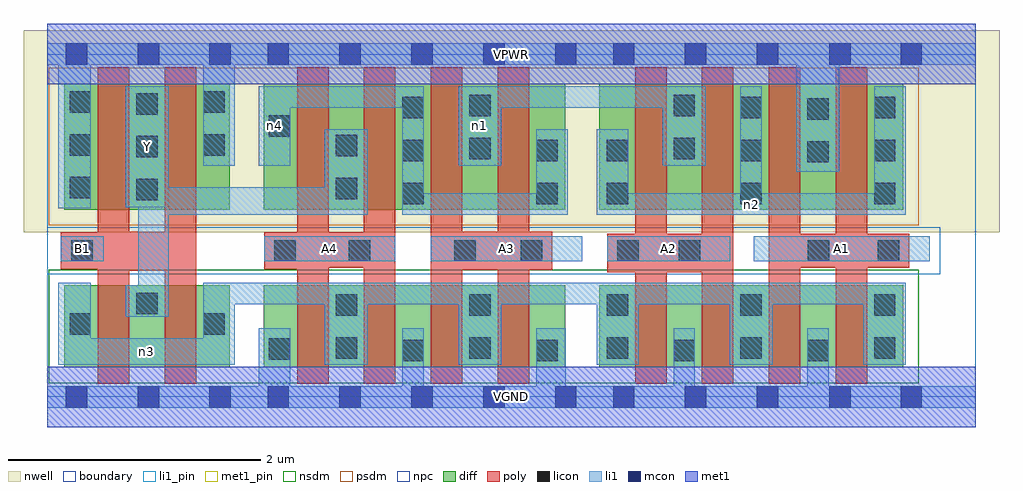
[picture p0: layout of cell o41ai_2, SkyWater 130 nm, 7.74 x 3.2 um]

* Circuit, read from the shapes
.subckt o41ai_2 A1 A2 A3 A4 B1 VGND VPWR Y n1 n2 n3 n4
XM1 Y B1 n3 VSUBS sky130_fd_pr__nfet_01v8 w=0.65 l=0.25 m=2
XM2 n3 A4 VGND VSUBS sky130_fd_pr__nfet_01v8 w=0.65 l=0.25 m=2
XM3 n3 A3 VGND VSUBS sky130_fd_pr__nfet_01v8 w=0.65 l=0.25 m=2
XM4 VGND A2 n3 VSUBS sky130_fd_pr__nfet_01v8 w=0.65 l=0.25 m=2
XM5 VGND A1 n3 VSUBS sky130_fd_pr__nfet_01v8 w=0.65 l=0.25 m=2
XM6 Y B1 VPWR n5 sky130_fd_pr__pfet_01v8 w=1 l=0.25 m=2
XM7 Y A4 n4 n5 sky130_fd_pr__pfet_01v8 w=1 l=0.25 m=2
XM8 n1 A3 n4 n5 sky130_fd_pr__pfet_01v8 w=1 l=0.25 m=2
XM9 n1 A2 n2 n5 sky130_fd_pr__pfet_01v8 w=1 l=0.25 m=2
XM10 VPWR A1 n2 n5 sky130_fd_pr__pfet_01v8 w=1 l=0.25 m=2
.ends

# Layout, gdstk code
import gdstk
lib = gdstk.Library(unit=1e-6, precision=1e-09)
def R(c, l, rs):  # rectangles x0, y0, x1, y1
    for r in rs: c.add(gdstk.rectangle(r[:2], r[2:], *l))
def A(c, l, x, y, w, h, nx, ny, dx, dy):  # array of equal rectangles
    R(c, l, [(x+i*dx, y+j*dy, x+i*dx+w, y+j*dy+h) for i in range(nx) for j in range(ny)])
nwell = (64, 20)
diff = (65, 20)
poly = (66, 20)
licon = (66, 44)
li1_pin = (67, 16)
li1 = (67, 20)
mcon = (67, 44)
met1_pin = (68, 16)
met1 = (68, 20)
nsdm = (93, 44)
psdm = (94, 20)
npc = (95, 20)
boundary = (235, 4)

o41ai_2 = lib.new_cell('o41ai_2')
R(o41ai_2, nwell, [(-0.19,1.305,7.55,2.91), (0,1.305,7.36,2.91)])
R(o41ai_2, diff, [(0.135,0.235,1.445,0.885), (1.715,0.235,4.105,0.885), (4.375,0.235,6.785,0.885), (0.135,1.485,1.445,2.485), (1.715,1.485,4.105,2.485), (4.375,1.485,6.785,2.485)])
A(o41ai_2, poly, 1.98, 0.105, 0.25, 2.51, 4, 1, 0.53, 0)
A(o41ai_2, poly, 4.66, 0.105, 0.25, 2.51, 4, 1, 0.53, 0)
R(o41ai_2, poly, [(0.4,0.105,0.65,2.615), (0.93,0.105,1.18,2.615), (4.44,0.99,5.44,1.295), (0.4,1,1.18,1.31), (3.04,1.01,4.005,1.31), (0.105,1.015,1.18,1.305), (1.72,1.015,2.23,1.305), (1.72,1.025,2.76,1.305), (5.72,1.025,6.835,1.295)])
A(o41ai_2, licon, 4.435, 0.305, 0.17, 0.17, 3, 2, 1.06, 0.34)
A(o41ai_2, licon, 2.815, 1.53, 0.17, 0.17, 1, 3, 0, 0.34)
A(o41ai_2, licon, 4.435, 1.53, 0.17, 0.17, 3, 2, 1.06, 0.34)
A(o41ai_2, licon, 0.705, 1.56, 0.17, 0.17, 1, 3, 0, 0.34)
A(o41ai_2, licon, 0.175, 1.575, 0.17, 0.17, 1, 3, 0, 0.34)
R(o41ai_2, licon, [(2.815,0.285,2.985,0.455), (3.875,0.285,4.045,0.455), (4.965,0.285,5.135,0.455), (6.025,0.285,6.195,0.455), (1.755,0.295,1.925,0.465), (2.285,0.305,2.455,0.475), (3.345,0.305,3.515,0.475), (0.175,0.495,0.345,0.665), (1.235,0.495,1.405,0.665), (2.285,0.645,2.455,0.815), (3.345,0.645,3.515,0.815), (0.705,0.655,0.875,0.825), (0.19,1.075,0.36,1.245), (1.8,1.075,1.97,1.245), (2.39,1.075,2.56,1.245), (3.225,1.075,3.395,1.245), (3.755,1.075,3.925,1.245), (4.52,1.075,4.69,1.245), (5.005,1.075,5.175,1.245), (6.03,1.075,6.2,1.245), (6.585,1.075,6.755,1.245), (3.875,1.53,4.045,1.7), (2.285,1.57,2.455,1.74), (6.025,1.86,6.195,2.03), (3.875,1.87,4.045,2.04), (3.345,1.885,3.515,2.055), (4.965,1.885,5.135,2.055), (2.285,1.91,2.455,2.08), (1.235,1.915,1.405,2.085), (1.755,2.065,1.925,2.235), (6.025,2.2,6.195,2.37), (5.495,2.21,5.665,2.38), (6.555,2.21,6.725,2.38), (3.345,2.225,3.515,2.395), (4.965,2.225,5.135,2.395), (1.235,2.255,1.405,2.425)])
R(o41ai_2, li1_pin, [(0.105,1.075,0.445,1.275), (1.72,1.075,2.76,1.275), (3.04,1.075,4.24,1.275), (4.44,1.075,5.415,1.275), (5.6,1.075,6.995,1.275), (0.62,1.505,0.96,2.465)])
R(o41ai_2, li1, [(0,-0.085,7.36,0.085), (1.675,-0.085,1.925,0.545), (2.815,-0.085,2.985,0.545), (3.875,-0.085,4.11,0.545), (4.965,-0.085,5.135,0.545), (6.025,-0.085,6.195,0.545), (0.085,0.255,1.485,0.465), (0.085,0.255,0.345,0.905), (1.235,0.255,1.485,0.905), (2.2,0.255,2.54,0.905), (3.26,0.255,3.6,0.905), (4.355,0.255,4.69,0.905), (5.41,0.255,5.75,0.905), (6.47,0.255,6.805,0.905), (0.62,0.635,0.96,0.885), (0.72,0.635,0.96,2.465), (1.235,0.735,6.805,0.905), (0.105,1.075,0.445,1.275), (1.72,1.075,2.76,1.275), (3.04,1.075,4.24,1.275), (4.44,1.075,5.415,1.275), (5.6,1.075,6.995,1.275), (0.72,1.445,2.54,1.665), (2.2,1.445,2.54,2.125), (2.815,1.445,4.125,1.615), (2.815,1.445,2.985,2.465), (3.875,1.445,4.125,2.125), (4.355,1.445,4.605,2.125), (4.355,1.445,6.805,1.615), (5.495,1.445,5.665,2.465), (6.555,1.445,6.805,2.465), (0.085,1.495,0.345,2.805), (0.62,1.505,0.96,2.465), (5.94,1.785,6.28,2.805), (1.235,1.835,1.485,2.805), (1.675,1.835,1.925,2.465), (3.26,1.835,3.6,2.465), (4.88,1.835,5.22,2.465), (1.675,2.295,2.985,2.465), (3.26,2.295,5.22,2.465), (0,2.635,7.36,2.805)])
A(o41ai_2, mcon, 0.145, -0.085, 0.17, 0.17, 3, 2, 0.57, 2.72)
A(o41ai_2, mcon, 1.745, -0.085, 0.17, 0.17, 5, 2, 0.57, 2.72)
A(o41ai_2, mcon, 4.485, -0.085, 0.17, 0.17, 3, 2, 0.57, 2.72)
R(o41ai_2, mcon, [(6.2,-0.085,6.37,0.085), (6.765,-0.085,6.935,0.085), (6.2,2.635,6.37,2.805), (6.765,2.635,6.935,2.805)])
R(o41ai_2, met1_pin, [(0,-0.24,7.36,0.24), (0,2.48,7.36,2.96)])
R(o41ai_2, met1, [(0,-0.24,7.36,0.24), (0,2.48,7.36,2.96)])
R(o41ai_2, nsdm, [(0.01,0.11,6.91,1.01)])
R(o41ai_2, psdm, [(0.01,1.36,6.91,2.61)])
R(o41ai_2, npc, [(0,0.975,7.08,1.345)])
R(o41ai_2, boundary, [(0,0,7.36,2.72)])
o41ai_2.add(gdstk.Label('A1', (6.297,1.175), layer=67, texttype=5))
o41ai_2.add(gdstk.Label('A2', (4.927,1.175), layer=67, texttype=5))
o41ai_2.add(gdstk.Label('A3', (3.64,1.175), layer=67, texttype=5))
o41ai_2.add(gdstk.Label('A4', (2.24,1.175), layer=67, texttype=5))
o41ai_2.add(gdstk.Label('B1', (0.275,1.175), layer=67, texttype=5))
o41ai_2.add(gdstk.Label('Y', (0.79,1.985), layer=67, texttype=5))
o41ai_2.add(gdstk.Label('n3', (0.785,0.36), layer=67, texttype=5))
o41ai_2.add(gdstk.Label('n4', (1.8,2.15), layer=67, texttype=5))
o41ai_2.add(gdstk.Label('n1', (3.43,2.15), layer=67, texttype=5))
o41ai_2.add(gdstk.Label('n2', (5.58,1.53), layer=67, texttype=5))
o41ai_2.add(gdstk.Label('VPWR', (3.68,2.72), layer=68, texttype=5))
o41ai_2.add(gdstk.Label('VGND', (3.68,0), layer=68, texttype=5))
o41ai_2.add(gdstk.Label('A1', (6.297,1.175), layer=67, texttype=16))
o41ai_2.add(gdstk.Label('A2', (4.927,1.175), layer=67, texttype=16))
o41ai_2.add(gdstk.Label('A3', (3.64,1.175), layer=67, texttype=16))
o41ai_2.add(gdstk.Label('A4', (2.24,1.175), layer=67, texttype=16))
o41ai_2.add(gdstk.Label('B1', (0.275,1.175), layer=67, texttype=16))
o41ai_2.add(gdstk.Label('Y', (0.79,1.985), layer=67, texttype=16))
o41ai_2.add(gdstk.Label('VPWR', (3.68,2.72), layer=68, texttype=16))
o41ai_2.add(gdstk.Label('VGND', (3.68,0), layer=68, texttype=16))

lib.write_gds('o41ai_2.gds')
